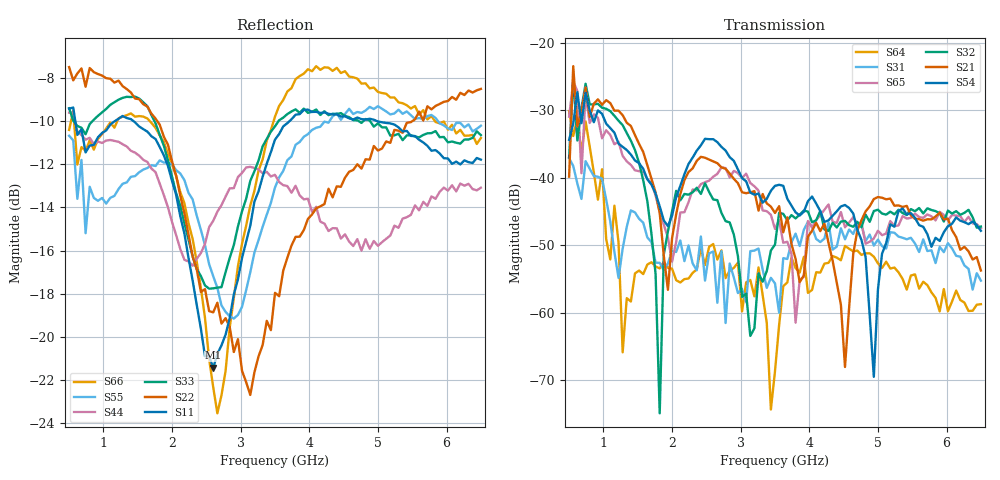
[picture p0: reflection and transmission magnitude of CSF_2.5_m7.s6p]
!Keysight Technologies,M9804A,MY58100912,A.14.10.03
!Date: Thursday, April 27, 2023 10:28:33
!Correction: S11(C  6-Port  )
!S12(C  6-Port  )
!S13(C  6-Port  )
!S14(C  6-Port  )
!S15(C  6-Port  )
!S16(C  6-Port  )
!S21(C  6-Port  )
!S22(C  6-Port  )
!S23(C  6-Port  )
!S24(C  6-Port  )
!S25(C  6-Port  )
!S26(C  6-Port  )
!S31(C  6-Port  )
!S32(C  6-Port  )
!S33(C  6-Port  )
!S34(C  6-Port  )
!S35(C  6-Port  )
!S36(C  6-Port  )
!S41(C  6-Port  )
!S42(C  6-Port  )
!S43(C  6-Port  )
!S44(C  6-Port  )
!S45(C  6-Port  )
!S46(C  6-Port  )
!S51(C  6-Port  )
!S52(C  6-Port  )
!S53(C  6-Port  )
!S54(C  6-Port  )
!S55(C  6-Port  )
!S56(C  6-Port  )
!S61(C  6-Port  )
!S62(C  6-Port  )
!S63(C  6-Port  )
!S64(C  6-Port  )
!S65(C  6-Port  )
!S66(C  6-Port  )
!S6P File: Measurement: :
# Hz S  RI  R 50
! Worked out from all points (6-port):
!   101 points, 500 MHz to 6.5 GHz, reference 50 ohm
!   strongest paths, dB at 500 MHz, 2 GHz, 3.5 GHz, 5 GHz, 6.5 GHz:
!     S54: -34.3, -45.6, -41.2, -56.5, -47.8
!     S21: -39.8, -48.9, -45.2, -42.8, -53.7
!     S32: -37.0, -44.9, -49.9, -44.7, -47.2
!     S65: -30.9, -52.4, -47.5, -47.8, -47.5
!     S31: -37.1, -50.8, -55.6, -49.1, -55.2
!     S64: -30.1, -53.4, -68.6, -52.6, -58.7
!   lowest |S11| = -21.4 dB at 2.6 GHz (marker M1), VSWR 1.19, Z = 42.5 + j2.19 ohm
!   |S11| at or under -10 dB: 589.4 MHz to 1.171 GHz (581.5 MHz wide, 66.1 % of centre); 1.434 GHz to 3.714 GHz (2.28 GHz wide, 88.6 % of centre); 4.981 GHz to end of sweep
